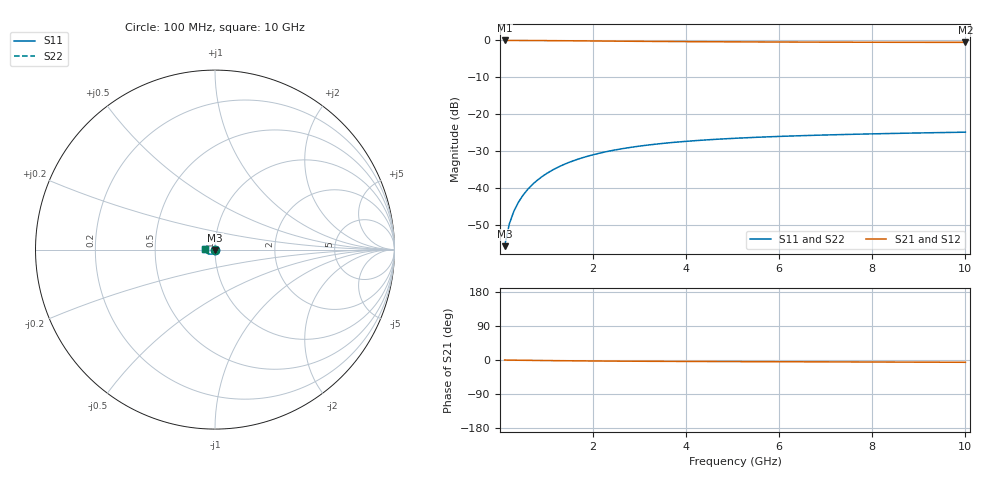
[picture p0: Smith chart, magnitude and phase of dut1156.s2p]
! Touchstone file exported from HFSS 2024.1.0
!  File:  C:/UserFiles/LocalFiles/RDL_TSV_Batchsim/temp_TSV1_1156_1780072257.aedt
!  Generated:  12:38:51 AM May 30, 2026
!  Design:  TSV1
!  Project:  temp_TSV1_1156_1780072257
!  Setup:  Setup1
!  Solution:  Sweep
! Variables:
!  dtsv = 11.46um
!  hbump = 3um
!  htsv = 94.87um
!  lrdl = 252.1521522um
!  p = 40
!  p1 = 54.31um
!  t = 500um
!  trdl = 3um
!  wrdl = 24.89489489um
# GHz S MA R 50.000000
! Terminal data exported
! Port[1] = TSV22_T1
! Port[2] = TSV22_T2
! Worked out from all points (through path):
!   100 points, 100 MHz to 10 GHz, reference 50 ohm
!   highest |S21| = 0.00 dB at 100 MHz (marker M1); lowest = -0.5 dB at 10 GHz (marker M2)
!   lowest |S11| = -55.8 dB at 100 MHz (marker M3), VSWR 1.00, Z = 50 - j0.161 ohm
!   |S11| at or under -10 dB: start of sweep to end of sweep
!   |S22| runs from -55.8 to -24.9 dB; largest |S21 - S12| = 6.6e-15
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0.1  0.001616 -87.5  0.9998 -0.2  0.9998 -0.2  0.001616 -87.5
! Gamma 0 0 0 0
! Port Impedance 50 0 50 0
0.2  0.003224 -91.4  0.9996 -0.3  0.9996 -0.3  0.003224 -91.4
0.3  0.004831 -93.9  0.9994 -0.5  0.9994 -0.5  0.004831 -93.9
0.4  0.00643 -96.1  0.999 -0.6  0.999 -0.6  0.00643 -96.1
0.5  0.008017 -98.2  0.9985 -0.8  0.9985 -0.8  0.008017 -98.2
0.6  0.009585 -100.2  0.9979 -0.9  0.9979 -0.9  0.009585 -100.2
0.7  0.01113 -102.1  0.9973 -1.0  0.9973 -1.0  0.01113 -102.1
0.8  0.01265 -104.0  0.9966 -1.2  0.9966 -1.2  0.01265 -104.0
0.9  0.01414 -105.8  0.9958 -1.3  0.9958 -1.3  0.01414 -105.8
1.1  0.01702 -109.4  0.994 -1.6  0.994 -1.6  0.01702 -109.4
1.4  0.02107 -114.6  0.991 -1.9  0.991 -1.9  0.02107 -114.6
1.6  0.02357 -117.8  0.9888 -2.2  0.9888 -2.2  0.02357 -117.8
1.8  0.02592 -120.9  0.9865 -2.4  0.9865 -2.4  0.02592 -120.9
2.1  0.02913 -125.3  0.9831 -2.6  0.9831 -2.6  0.02913 -125.3
2.5  0.03289 -130.7  0.9785 -3.0  0.9785 -3.0  0.03289 -130.7
2.9  0.0361 -135.6  0.9742 -3.2  0.9742 -3.2  0.0361 -135.6
3.4  0.03947 -141.1  0.9694 -3.5  0.9694 -3.5  0.03947 -141.1
4.2  0.04369 -148.6  0.9627 -3.9  0.9627 -3.9  0.04369 -148.6
5.1  0.0472 -155.6  0.9569 -4.2  0.9569 -4.2  0.0472 -155.6
6.7  0.05152 -165.7  0.9495 -4.8  0.9495 -4.8  0.05152 -165.7
8.4  0.05465 -174.1  0.9445 -5.4  0.9445 -5.4  0.05465 -174.1
10  0.05691 179.2  0.9413 -6.0  0.9413 -6.0  0.05691 179.2
